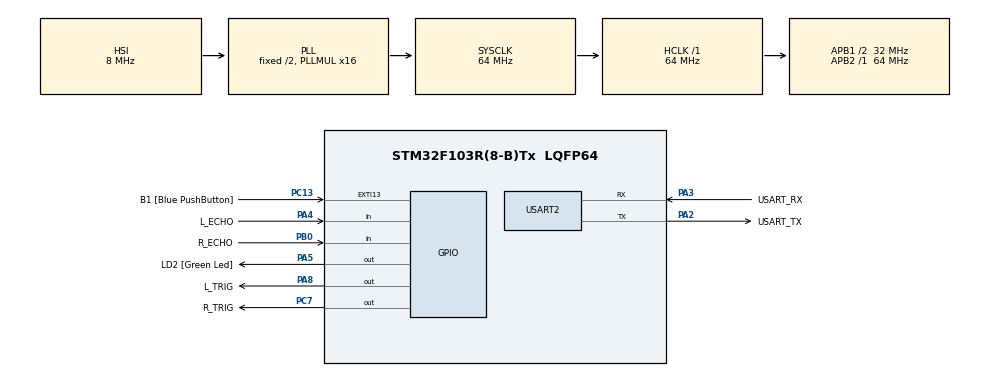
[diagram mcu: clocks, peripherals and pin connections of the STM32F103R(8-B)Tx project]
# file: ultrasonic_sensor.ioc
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Mcu.Family=STM32F1
Mcu.Name=STM32F103R(8-B)Tx
Mcu.Package=LQFP64
NVIC.EXTI15_10_IRQn=true\:0\:0\:false\:false\:true\:true\:true\:true
NVIC.PriorityGroup=NVIC_PRIORITYGROUP_4
PA13.GPIO_Label=TMS
PA13.Mode=Serial_Wire
PA13.Signal=SYS_JTMS-SWDIO
PA14.GPIO_Label=TCK
PA14.Mode=Serial_Wire
PA14.Signal=SYS_JTCK-SWCLK
PA2.GPIO_Label=USART_TX
PA2.GPIO_Mode=GPIO_MODE_AF_PP
PA2.GPIO_PuPd=GPIO_NOPULL
PA2.GPIO_Speed=GPIO_SPEED_FREQ_LOW
PA2.Mode=Asynchronous
PA2.Signal=USART2_TX
PA3.GPIO_Label=USART_RX
PA3.GPIO_Mode=GPIO_MODE_AF_PP
PA3.GPIO_PuPd=GPIO_NOPULL
PA3.GPIO_Speed=GPIO_SPEED_FREQ_LOW
PA3.Mode=Asynchronous
PA3.Signal=USART2_RX
PA4.GPIO_Label=L_ECHO
PA4.Signal=GPIO_Input
PA5.GPIO_Label=LD2 [Green Led]
PA5.GPIO_ModeDefaultOutputPP=GPIO_MODE_OUTPUT_PP
PA5.GPIO_PuPd=GPIO_NOPULL
PA5.GPIO_Speed=GPIO_SPEED_FREQ_LOW
PA5.Signal=GPIO_Output
PA8.GPIO_Label=L_TRIG
PA8.Signal=GPIO_Output
PB0.GPIO_Label=R_ECHO
PB0.Signal=GPIO_Input
PB3.GPIO_Label=SWO
PB3.Signal=SYS_JTDO-TRACESWO
PC13-TAMPER-RTC.GPIO_Label=B1 [Blue PushButton]
PC13-TAMPER-RTC.GPIO_PuPd=GPIO_NOPULL
PC13-TAMPER-RTC.Signal=GPXTI13
PC14-OSC32_IN.Signal=RCC_OSC32_IN
PC15-OSC32_OUT.Signal=RCC_OSC32_OUT
PC7.GPIO_Label=R_TRIG
PC7.Signal=GPIO_Output
PD0-OSC_IN.Signal=RCC_OSC_IN
PD1-OSC_OUT.Signal=RCC_OSC_OUT
ProjectManager.HeapSize=0x200
ProjectManager.StackSize=0x400
ProjectManager.TargetToolchain=STM32CubeIDE
RCC.AHBFreq_Value=64000000
RCC.APB1CLKDivider=RCC_HCLK_DIV2
RCC.APB1Freq_Value=32000000
RCC.APB1TimFreq_Value=64000000
RCC.APB2Freq_Value=64000000
RCC.APB2TimFreq_Value=64000000
RCC.HCLKFreq_Value=64000000
RCC.PLLMUL=RCC_PLL_MUL16
RCC.RTCClockSelection=RCC_RTCCLKSOURCE_LSE
RCC.SYSCLKFreq_VALUE=64000000
RCC.SYSCLKSource=RCC_SYSCLKSOURCE_PLLCLK
RCC.USBFreq_Value=64000000
TIM1.Prescaler=64-1
USART2.VirtualMode=VM_ASYNC
VP_TIM1_VS_ClockSourceINT.Mode=Internal
board=NUCLEO-F103RB

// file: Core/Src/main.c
/* USER CODE BEGIN Header */
/**
  ******************************************************************************
  * @file           : main.c
  * @brief          : Main program body
  ******************************************************************************
  * @attention
  *
  * Copyright (c) 2025 STMicroelectronics.
  * All rights reserved.
  *
  * This software is licensed under terms that can be found in the LICENSE file
  * in the root directory of this software component.
  * If no LICENSE file comes with this software, it is provided AS-IS.
  *
  ******************************************************************************
  */
/* USER CODE END Header */
#include "main.h"

/* USER CODE BEGIN Includes */
#include <stdio.h>
#include "string.h"
#include <stdlib.h>
/* USER CODE END Includes */

TIM_HandleTypeDef htim1;

UART_HandleTypeDef huart2;

/* USER CODE BEGIN PV */
uint8_t transmit[256];
int L_echo_time = 0;
int R_echo_time = 0;
int L_dist = 0;
int R_dist = 0;
int HIGH = 1;
int LOW = 0;
/* USER CODE END PV */

void SystemClock_Config(void);
static void MX_GPIO_Init(void);
static void MX_USART2_UART_Init(void);
static void MX_TIM1_Init(void);

/* USER CODE BEGIN 0 */
#ifdef __GNUC__
#define PUTCHAR_PROTOTYPE int __io_putchar(int ch)
#else
#define PUTCHAR_PROTOTYPE int fputc(int ch, FILE *f)
#endif

PUTCHAR_PROTOTYPE
{
	if(ch == '\n')
		HAL_UART_Transmit(&huart2, (uint8_t *)"\r", 1, 0xFFFF);
		HAL_UART_Transmit(&huart2, (uint8_t *)&ch,        1, 0xFFFF);

		return ch;
}

void timer_start(void)
{
   HAL_TIM_Base_Start(&htim1);
   sprintf((char*)transmit, "=== HC-SR04 TEST===\r\n");
   HAL_UART_Transmit(&huart2, transmit, strlen((char *)transmit), 1000);
}

void delay_us(uint16_t us)
{
   __HAL_TIM_SET_COUNTER(&htim1, 0); // initislize counter to start from 0
   while((__HAL_TIM_GET_COUNTER(&htim1))<us); // wait count until us
}

void L_trig(void)
{
   HAL_GPIO_WritePin(L_TRIG_GPIO_Port, L_TRIG_Pin, HIGH);
   delay_us(10);
   HAL_GPIO_WritePin(L_TRIG_GPIO_Port, L_TRIG_Pin, LOW);
}

long unsigned int L_echo(void)
{
    long unsigned int echo = 0;

    while(HAL_GPIO_ReadPin(L_ECHO_GPIO_Port, L_ECHO_Pin) == LOW){}
         __HAL_TIM_SET_COUNTER(&htim1, 0);
         while(HAL_GPIO_ReadPin(L_ECHO_GPIO_Port, L_ECHO_Pin) == HIGH);
         echo = __HAL_TIM_GET_COUNTER(&htim1);
    if( echo >= 240 && echo <= 23000 ) return echo;
    else return 0;
}

void R_trig(void)
{
   HAL_GPIO_WritePin(R_TRIG_GPIO_Port, R_TRIG_Pin, HIGH);
   delay_us(10);
   HAL_GPIO_WritePin(R_TRIG_GPIO_Port, R_TRIG_Pin, LOW);
}

long unsigned int R_echo(void)
{
    long unsigned int echo = 0;

    while(HAL_GPIO_ReadPin(R_ECHO_GPIO_Port, R_ECHO_Pin) == LOW){}
         __HAL_TIM_SET_COUNTER(&htim1, 0);
         while(HAL_GPIO_ReadPin(R_ECHO_GPIO_Port, R_ECHO_Pin) == HIGH);
         echo = __HAL_TIM_GET_COUNTER(&htim1);
    if( echo >= 240 && echo <= 23000 ) return echo;
    else return 0;
}

void L_ultrasonic(void)
{
	L_trig();
	L_echo_time = L_echo();
	if(L_echo_time != 0)
	{
		L_dist = (int)(17 * L_echo_time / 100);
		printf("L_Distance = %d(mm)\n", L_dist);
	}
	else
		printf("Out of Range!\n");

}

void R_ultrasonic(void)
{
	R_trig();
	R_echo_time = R_echo();
	if(R_echo_time != 0)
	{
		R_dist = (int)(17 * R_echo_time / 100);
		printf("R_Distance = %d(mm)\n", R_dist);
	}
	else
		printf("Out of Range!\n");

}

/* USER CODE END 0 */

int main(void)
{

  /* MCU Configuration--------------------------------------------------------*/

  /* Reset of all peripherals, Initializes the Flash interface and the Systick. */
  HAL_Init();

  /* Configure the system clock */
  SystemClock_Config();

  /* Initialize all configured peripherals */
  MX_GPIO_Init();
  MX_USART2_UART_Init();
  MX_TIM1_Init();
  /* USER CODE BEGIN 2 */

  timer_start();

  /* USER CODE END 2 */

  /* Infinite loop */
  while (1)
  {

    /* USER CODE BEGIN 3 */
	  L_ultrasonic();
	  R_ultrasonic();
	  HAL_Delay(50);
  }
  /* USER CODE END 3 */
}

void SystemClock_Config(void)
{
  RCC_OscInitTypeDef RCC_OscInitStruct = {0};
  RCC_ClkInitTypeDef RCC_ClkInitStruct = {0};

  /** Initializes the RCC Oscillators according to the specified parameters
  * in the RCC_OscInitTypeDef structure.
  */
  RCC_OscInitStruct.OscillatorType = RCC_OSCILLATORTYPE_HSI;
  RCC_OscInitStruct.HSIState = RCC_HSI_ON;
  RCC_OscInitStruct.HSICalibrationValue = RCC_HSICALIBRATION_DEFAULT;
  RCC_OscInitStruct.PLL.PLLState = RCC_PLL_ON;
  RCC_OscInitStruct.PLL.PLLSource = RCC_PLLSOURCE_HSI_DIV2;
  RCC_OscInitStruct.PLL.PLLMUL = RCC_PLL_MUL16;
  if (HAL_RCC_OscConfig(&RCC_OscInitStruct) != HAL_OK)
  {
    Error_Handler();
  }

  /** Initializes the CPU, AHB and APB buses clocks
  */
  RCC_ClkInitStruct.ClockType = RCC_CLOCKTYPE_HCLK|RCC_CLOCKTYPE_SYSCLK
                              |RCC_CLOCKTYPE_PCLK1|RCC_CLOCKTYPE_PCLK2;
  RCC_ClkInitStruct.SYSCLKSource = RCC_SYSCLKSOURCE_PLLCLK;
  RCC_ClkInitStruct.AHBCLKDivider = RCC_SYSCLK_DIV1;
  RCC_ClkInitStruct.APB1CLKDivider = RCC_HCLK_DIV2;
  RCC_ClkInitStruct.APB2CLKDivider = RCC_HCLK_DIV1;

  if (HAL_RCC_ClockConfig(&RCC_ClkInitStruct, FLASH_LATENCY_2) != HAL_OK)
  {
    Error_Handler();
  }
}

static void MX_TIM1_Init(void)
{

  TIM_ClockConfigTypeDef sClockSourceConfig = {0};
  TIM_MasterConfigTypeDef sMasterConfig = {0};

  htim1.Instance = TIM1;
  htim1.Init.Prescaler = 64-1;
  htim1.Init.CounterMode = TIM_COUNTERMODE_UP;
  htim1.Init.Period = 65535;
  htim1.Init.ClockDivision = TIM_CLOCKDIVISION_DIV1;
  htim1.Init.RepetitionCounter = 0;
  htim1.Init.AutoReloadPreload = TIM_AUTORELOAD_PRELOAD_DISABLE;
  if (HAL_TIM_Base_Init(&htim1) != HAL_OK)
  {
    Error_Handler();
  }
  sClockSourceConfig.ClockSource = TIM_CLOCKSOURCE_INTERNAL;
  if (HAL_TIM_ConfigClockSource(&htim1, &sClockSourceConfig) != HAL_OK)
  {
    Error_Handler();
  }
  sMasterConfig.MasterOutputTrigger = TIM_TRGO_RESET;
  sMasterConfig.MasterSlaveMode = TIM_MASTERSLAVEMODE_DISABLE;
  if (HAL_TIMEx_MasterConfigSynchronization(&htim1, &sMasterConfig) != HAL_OK)
  {
    Error_Handler();
  }

}

static void MX_USART2_UART_Init(void)
{

  huart2.Instance = USART2;
  huart2.Init.BaudRate = 115200;
  huart2.Init.WordLength = UART_WORDLENGTH_8B;
  huart2.Init.StopBits = UART_STOPBITS_1;
  huart2.Init.Parity = UART_PARITY_NONE;
  huart2.Init.Mode = UART_MODE_TX_RX;
  huart2.Init.HwFlowCtl = UART_HWCONTROL_NONE;
  huart2.Init.OverSampling = UART_OVERSAMPLING_16;
  if (HAL_UART_Init(&huart2) != HAL_OK)
  {
    Error_Handler();
  }

}

static void MX_GPIO_Init(void)
{
  GPIO_InitTypeDef GPIO_InitStruct = {0};

  /* GPIO Ports Clock Enable */
  __HAL_RCC_GPIOC_CLK_ENABLE();
  __HAL_RCC_GPIOD_CLK_ENABLE();
  __HAL_RCC_GPIOA_CLK_ENABLE();
  __HAL_RCC_GPIOB_CLK_ENABLE();

  /*Configure GPIO pin Output Level */
  HAL_GPIO_WritePin(GPIOA, LD2_Pin|L_TRIG_Pin, GPIO_PIN_RESET);

  /*Configure GPIO pin Output Level */
  HAL_GPIO_WritePin(R_TRIG_GPIO_Port, R_TRIG_Pin, GPIO_PIN_RESET);

  /*Configure GPIO pin : B1_Pin */
  GPIO_InitStruct.Pin = B1_Pin;
  GPIO_InitStruct.Mode = GPIO_MODE_IT_RISING;
  GPIO_InitStruct.Pull = GPIO_NOPULL;
  HAL_GPIO_Init(B1_GPIO_Port, &GPIO_InitStruct);

  /*Configure GPIO pin : L_ECHO_Pin */
  GPIO_InitStruct.Pin = L_ECHO_Pin;
  GPIO_InitStruct.Mode = GPIO_MODE_INPUT;
  GPIO_InitStruct.Pull = GPIO_NOPULL;
  HAL_GPIO_Init(L_ECHO_GPIO_Port, &GPIO_InitStruct);

  /*Configure GPIO pins : LD2_Pin L_TRIG_Pin */
  GPIO_InitStruct.Pin = LD2_Pin|L_TRIG_Pin;
  GPIO_InitStruct.Mode = GPIO_MODE_OUTPUT_PP;
  GPIO_InitStruct.Pull = GPIO_NOPULL;
  GPIO_InitStruct.Speed = GPIO_SPEED_FREQ_LOW;
  HAL_GPIO_Init(GPIOA, &GPIO_InitStruct);

  /*Configure GPIO pin : R_ECHO_Pin */
  GPIO_InitStruct.Pin = R_ECHO_Pin;
  GPIO_InitStruct.Mode = GPIO_MODE_INPUT;
  GPIO_InitStruct.Pull = GPIO_NOPULL;
  HAL_GPIO_Init(R_ECHO_GPIO_Port, &GPIO_InitStruct);

  /*Configure GPIO pin : R_TRIG_Pin */
  GPIO_InitStruct.Pin = R_TRIG_Pin;
  GPIO_InitStruct.Mode = GPIO_MODE_OUTPUT_PP;
  GPIO_InitStruct.Pull = GPIO_NOPULL;
  GPIO_InitStruct.Speed = GPIO_SPEED_FREQ_LOW;
  HAL_GPIO_Init(R_TRIG_GPIO_Port, &GPIO_InitStruct);

  /* EXTI interrupt init*/
  HAL_NVIC_SetPriority(EXTI15_10_IRQn, 0, 0);
  HAL_NVIC_EnableIRQ(EXTI15_10_IRQn);

}

void Error_Handler(void)
{
  __disable_irq();
  while (1)
  {
  }
}
